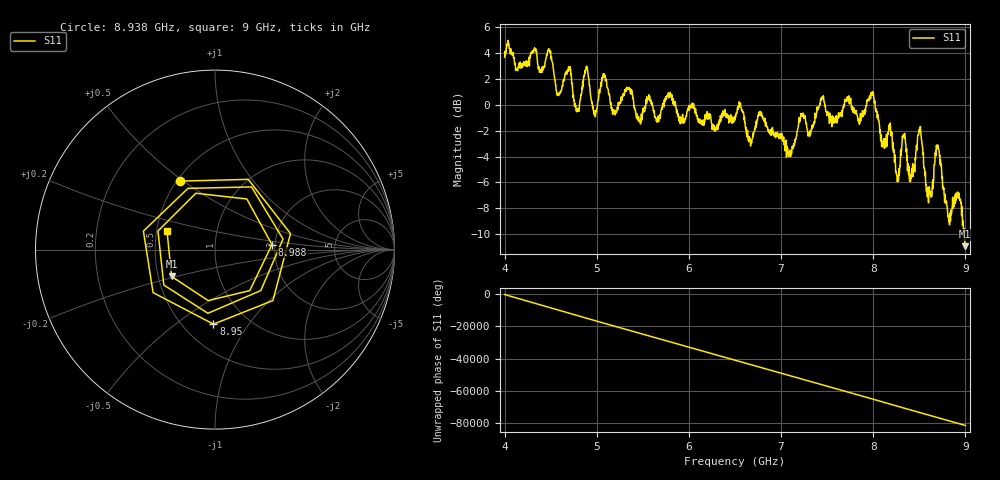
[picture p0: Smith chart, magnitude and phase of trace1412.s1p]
! Created with skrf 1.8.0 (http://scikit-rf.org).
# Hz S RI R 50.0
!freq ReS11 ImS11
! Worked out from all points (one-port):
!   1601 points, 4 GHz to 9 GHz, reference 50 ohm
!   lowest |S11| = -10.9 dB at 8.997 GHz (marker M1), VSWR 1.80, Z = 29.4 - j9.56 ohm
!   |S11| at or under -10 dB: 8.988363 GHz to end of sweep
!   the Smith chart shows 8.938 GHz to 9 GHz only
!   S11 on the Smith chart (normalised r, x): 8.938 GHz: 0.52, +0.49; 8.95 GHz: 0.70, -0.70; 8.988 GHz: 1.93, +0.12; 9 GHz: 0.57, +0.13
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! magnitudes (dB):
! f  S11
! 4 GHz  3.7
! 4.484 GHz  4.3
! 4.625 GHz  1.5
! 4.7 GHz  2.9
! 4.791 GHz  -0.4
! 4.884 GHz  2.8
! 4.978 GHz  -0.7
! 5.078 GHz  2.1
! 5.25 GHz  0.1
! 5.875 GHz  -0.7
! 6.5 GHz  -1.2
! 7.125 GHz  -3.3
! 7.444 GHz  0.5
! 7.75 GHz  0.3
! 7.984 GHz  0.7
! 8.262 GHz  -6.0
! 8.328 GHz  -2.3
! 8.375 GHz  -4.5
! 8.419 GHz  -4.9
! 8.506 GHz  -1.8
! 8.597 GHz  -7.0
! 8.697 GHz  -3.4
! 8.812 GHz  -8.6
! 8.938 GHz  -7.4
! 8.95 GHz  -7.6
! 8.988 GHz  -9.9
! 8.997 GHz  -10.9
! 9 GHz  -10.9
